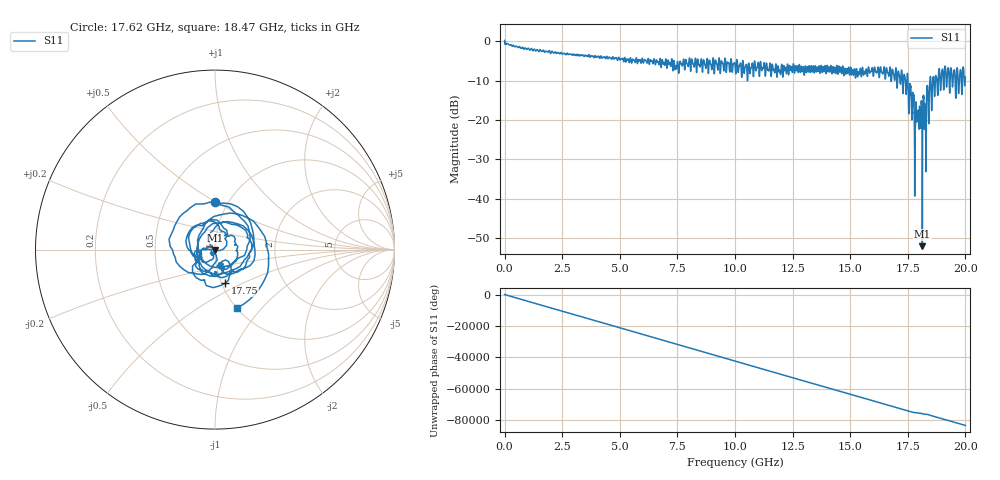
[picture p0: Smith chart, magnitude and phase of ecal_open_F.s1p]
! MS46122B
! 2250307/22442219
! 6/20/2025 7:46:47 AM
! C:\USERS\SPARKY\DOCUMENTS\VNA_DATA\JUNE20_2025\3.0K\ECAL_OPEN_F.S1P
! CHANNEL.1
! TR.MEASUREMENT
! RAW.DATA
# GHZ S RI R 50.0
! FREQ.GHZ  S11RE  S11IM
!; PortSelection: Port_1
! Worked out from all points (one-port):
!   10001 points, 1 MHz to 20 GHz, reference 50 ohm
!   lowest |S11| = -52.1 dB at 18.13 GHz (marker M1), VSWR 1.00, Z = 49.9 - j0.242 ohm
!   |S11| at or under -10 dB: 17.3957 GHz to 17.45874 GHz (63.03 MHz wide, 0.362 % of centre); 17.51 GHz to 18.46 GHz (953.1 MHz wide, 5.3 % of centre); 18.49766 GHz to 18.58342 GHz (85.76 MHz wide, 0.463 % of centre) (the widest 3 of 19)
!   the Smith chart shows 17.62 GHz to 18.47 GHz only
!   S11 on the Smith chart (normalised r, x): 17.62 GHz: 0.87, +0.49; 17.75 GHz: 1.04, -0.41; 18.47 GHz: 1.01, -0.74
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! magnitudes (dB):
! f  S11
! 1 MHz  0.2
! 2.501 GHz  -3.2
! 5.001 GHz  -4.6
! 7.501 GHz  -5.1
! 7.947 GHz  -6.0
! 10 GHz  -5.9
! 10.47 GHz  -6.1
! 12.5 GHz  -7.5
! 15 GHz  -7.1
! 16.91 GHz  -9.1
! 17.41 GHz  -12.1
! 17.5 GHz  -9.1
! 17.62 GHz  -11.6
! 17.68 GHz  -19.6
! 17.75 GHz  -14.1
! 17.88 GHz  -19.3
! 17.94 GHz  -18.5
! 18.13 GHz  -52.1
! 18.21 GHz  -20.0
! 18.26 GHz  -17.9
! 18.36 GHz  -11.6
! 18.41 GHz  -20.9
! 18.47 GHz  -9.2
! 18.54 GHz  -17.3
! 19.05 GHz  -12.1
! 19.58 GHz  -14.0
! 19.65 GHz  -6.8
! 20 GHz  -9.1
